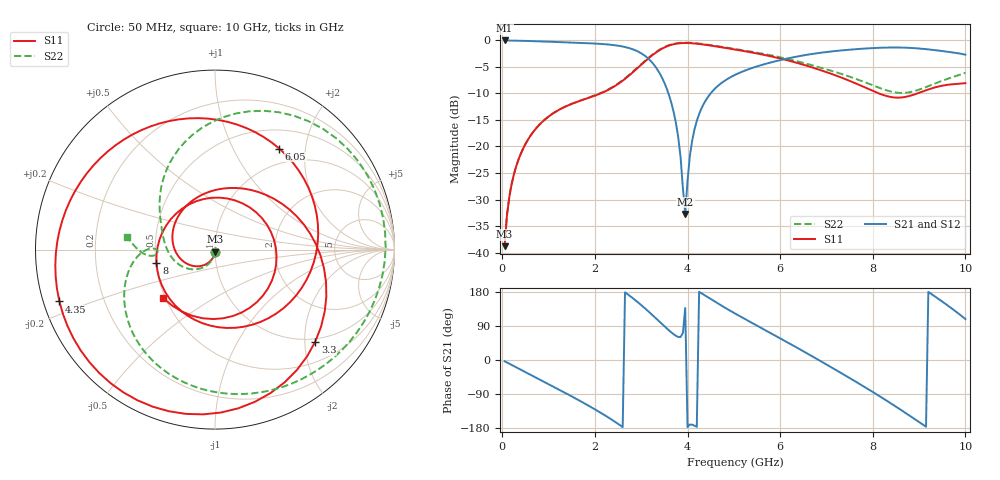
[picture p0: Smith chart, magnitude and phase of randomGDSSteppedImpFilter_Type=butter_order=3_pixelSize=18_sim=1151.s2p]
! freq	dB(S11)	phase(S11)	dB(S12)	phase(S12)
!  dB(S21)	phase(S21)	dB(S22)	phase(S22)
!S-par simulation data
#  GHz  S  DB  R 50
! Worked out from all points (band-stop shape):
!   200 points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, 50 MHz to 10 GHz, reference 50 ohm
!   highest |S21| = -0.01 dB at 50 MHz (marker M1); lowest = -32.7 dB at 3.95 GHz (marker M2)
!   |S21| within 3 dB of the highest: start of sweep to 3.096 GHz; 6.383 GHz to end of sweep
!   lowest |S11| = -38.8 dB at 50 MHz (marker M3), VSWR 1.02, Z = 50 - j1.15 ohm
!   |S11| at or under -10 dB: start of sweep to 2.122 GHz; 8.132 GHz to 8.962 GHz (829.9 MHz wide, 9.71 % of centre)
!   |S22| runs from -38.8 to -0.4 dB; largest |S21 - S12| = 0
!   S11 on the Smith chart (normalised r, x): 50 MHz: 1.00, -0.02; 3.3 GHz: 0.93, -2.24; 4.35 GHz: 0.05, -0.16; 6.05 GHz: 0.76, +1.54; 8 GHz: 0.50, -0.08; 10 GHz: 0.49, -0.31
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0.05  -38.79 -90.7  -0.01 -3.3  -0.01 -3.3  -38.78 -89.7
0.2  -27.16 -103.3  -0.03 -12.8  -0.03 -12.8  -27.14 -101.1
0.5  -19.54 -125.2  -0.09 -31.9  -0.09 -31.9  -19.53 -119.5
1.15  -13.46 -172.5  -0.29 -73.4  -0.29 -73.4  -13.45 -155.6
1.75  -11.18 138.0  -0.49 -112.8  -0.49 -112.8  -11.14 174.8
2.6  -7.60 46.9  -1.15 -177.0  -1.15 -177.0  -7.47 136.5
3.3  -2.40 -42.6  -4.87 112.0  -4.87 112.0  -2.30 81.3
3.4  -1.82 -55.8  -6.22 100.4  -6.22 100.4  -1.72 70.6
3.75  -0.63 -100.0  -15.62 63.7  -15.62 63.7  -0.56 31.6
3.95  -0.49 -122.7  -32.72 137.0  -32.72 137.0  -0.42 10.5
4.1  -0.54 -138.2  -18.89 -170.7  -18.89 -170.7  -0.47 -4.1
4.35  -0.78 -161.6  -11.96 172.3  -11.96 172.3  -0.71 -26.2
5.05  -1.76 141.4  -6.40 121.1  -6.40 121.1  -1.64 -75.4
5.55  -2.55 101.3  -4.77 87.3  -4.77 87.3  -2.39 -102.9
6.05  -3.52 57.5  -3.62 53.8  -3.62 53.8  -3.28 -126.0
6.7  -5.12 -7.4  -2.55 9.2  -2.55 9.2  -4.71 -150.3
7.35  -7.10 -81.4  -1.87 -36.8  -1.87 -36.8  -6.40 -168.7
8  -9.53 -167.6  -1.45 -84.4  -1.45 -84.4  -8.47 179.9
8.35  -10.60 136.9  -1.34 -111.2  -1.34 -111.2  -9.55 179.4
8.75  -10.57 67.6  -1.39 -143.1  -1.39 -143.1  -9.84 -176.2
9.25  -9.11 -13.4  -1.74 175.5  -1.74 175.5  -8.45 -175.3
10  -8.07 -137.2  -2.68 108.0  -2.68 108.0  -6.11 172.0
